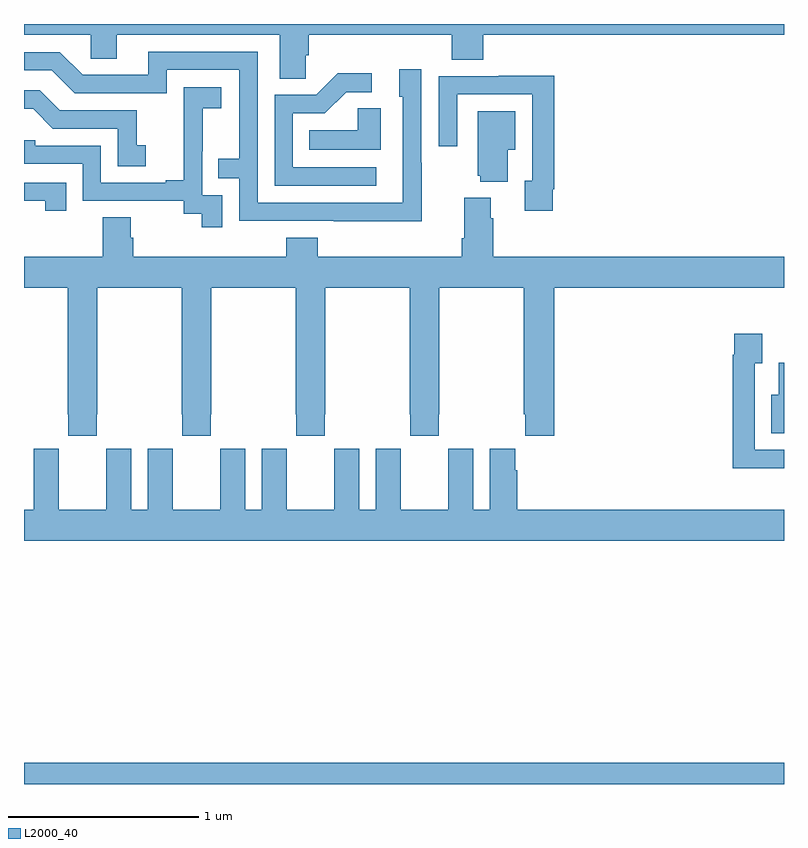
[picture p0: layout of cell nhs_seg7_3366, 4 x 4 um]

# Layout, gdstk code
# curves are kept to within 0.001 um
import gdstk
lib = gdstk.Library(unit=1e-6, precision=1e-09)
def R(c, l, rs):  # rectangles x0, y0, x1, y1
    for r in rs: c.add(gdstk.rectangle(r[:2], r[2:], *l))
def P(c, l, *ps):  # polygons
    for p in ps: c.add(gdstk.Polygon(p, *l))
L2000_40 = (2000, 40)

nhs_seg7_3366 = lib.new_cell('nhs_seg7_3366')
R(nhs_seg7_3366, L2000_40, [(325,1002,329,1002.112)])
P(nhs_seg7_3366, L2000_40, [(326.484,1005.835),(326.498,1005.835),(326.498,1005.944),(327.251,1005.944),(327.251,1005.811),(327.416,1005.811),(327.416,1005.944),(329,1005.944),(329,1006),(325,1006),(325,1005.944),(325.35,1005.944),(325.35,1005.817),(325.489,1005.817),(325.489,1005.944),(326.345,1005.944),(326.345,1005.712),(326.484,1005.712)],
  [(327.093,1005.269),(327.09,1005.269),(327.09,1005.763),(326.975,1005.763),(326.975,1005.618),(326.994,1005.618),(326.994,1005.06),(326.229,1005.06),(326.229,1005.855),(325.655,1005.855),(325.655,1005.732),(325.308,1005.732),(325.188,1005.852),(325,1005.852),(325,1005.756),(325.146,1005.756),(325.266,1005.636),(325.752,1005.636),(325.752,1005.759),(326.133,1005.759),(326.133,1005.29),(326.023,1005.29),(326.023,1005.189),(326.133,1005.189),(326.133,1004.964),(327.093,1004.963)],
  [(326.854,1005.246),(326.415,1005.246),(326.415,1005.531),(326.584,1005.531),(326.695,1005.642),(326.83,1005.642),(326.83,1005.74),(326.651,1005.74),(326.538,1005.627),(326.319,1005.627),(326.319,1005.15),(326.854,1005.15)],
  [(327.784,1005.13),(327.791,1005.13),(327.791,1005.728),(327.499,1005.728),(327.499,1005.726),(327.183,1005.726),(327.183,1005.357),(327.279,1005.357),(327.279,1005.63),(327.675,1005.63),(327.675,1005.174),(327.635,1005.174),(327.635,1005.018),(327.784,1005.018)],
  [(326.043,1005.099),(325.938,1005.099),(325.938,1005.329),(325.94,1005.329),(325.94,1005.557),(326.038,1005.557),(326.038,1005.667),(325.84,1005.667),(325.84,1005.461),(325.841,1005.461),(325.841,1005.178),(325.745,1005.178),(325.745,1005.165),(325.404,1005.165),(325.404,1005.36),(325.059,1005.36),(325.059,1005.387),(325,1005.387),(325,1005.264),(325.308,1005.264),(325.308,1005.069),(325.842,1005.069),(325.842,1005.001),(325.935,1005.001),(325.935,1004.931),(326.043,1004.931)],
  [(325.642,1005.361),(325.593,1005.361),(325.593,1005.546),(325.189,1005.546),(325.084,1005.651),(325,1005.651),(325,1005.554),(325.048,1005.554),(325.152,1005.45),(325.494,1005.45),(325.494,1005.252),(325.642,1005.252)],
  [(326.878,1005.557),(326.757,1005.557),(326.757,1005.442),(326.5,1005.442),(326.5,1005.338),(326.878,1005.338)],
  [(327.547,1005.338),(327.586,1005.338),(327.586,1005.541),(327.389,1005.541),(327.389,1005.201),(327.401,1005.201),(327.401,1005.17),(327.547,1005.17)],
  [(325.223,1005.165),(325,1005.165),(325,1005.069),(325.112,1005.069),(325.112,1005.018),(325.223,1005.018)],
  [(325.383,1003.945),(325.386,1003.945),(325.386,1004.612),(325.831,1004.612),(325.831,1003.945),(325.833,1003.945),(325.833,1003.833),(325.983,1003.833),(325.983,1003.945),(325.986,1003.945),(325.986,1004.612),(326.431,1004.612),(326.431,1003.945),(326.433,1003.945),(326.433,1003.833),(326.583,1003.833),(326.583,1003.945),(326.586,1003.945),(326.586,1004.612),(327.031,1004.612),(327.031,1003.945),(327.033,1003.945),(327.033,1003.833),(327.183,1003.833),(327.183,1003.945),(327.186,1003.945),(327.186,1004.612),(327.631,1004.612),(327.631,1003.945),(327.637,1003.945),(327.637,1003.833),(327.791,1003.833),(327.791,1004.612),(329,1004.612),(329,1004.776),(327.47,1004.776),(327.47,1004.978),(327.457,1004.978),(327.457,1005.085),(327.317,1005.085),(327.317,1004.872),(327.305,1004.872),(327.305,1004.776),(326.546,1004.776),(326.546,1004.875),(326.381,1004.875),(326.381,1004.776),(325.574,1004.776),(325.574,1004.874),(325.561,1004.874),(325.561,1004.984),(325.414,1004.984),(325.414,1004.776),(325,1004.776),(325,1004.612),(325.231,1004.612),(325.231,1003.945),(325.233,1003.945),(325.233,1003.833),(325.383,1003.833)],
  [(329,1003.758),(328.845,1003.758),(328.845,1004.215),(328.885,1004.215),(328.885,1004.371),(328.737,1004.371),(328.737,1004.258),(328.729,1004.258),(328.729,1003.661),(329,1003.661)],
  [(329,1004.218),(328.973,1004.218),(328.973,1004.05),(328.934,1004.05),(328.934,1003.847),(329,1003.847)],
  [(329,1003.444),(327.596,1003.444),(327.596,1003.652),(327.586,1003.652),(327.586,1003.765),(327.452,1003.765),(327.452,1003.444),(327.364,1003.444),(327.364,1003.765),(327.234,1003.765),(327.234,1003.652),(327.233,1003.652),(327.233,1003.444),(326.983,1003.444),(326.983,1003.652),(326.982,1003.652),(326.982,1003.765),(326.852,1003.765),(326.852,1003.444),(326.764,1003.444),(326.764,1003.765),(326.634,1003.765),(326.634,1003.652),(326.633,1003.652),(326.633,1003.444),(326.383,1003.444),(326.383,1003.652),(326.382,1003.652),(326.382,1003.765),(326.252,1003.765),(326.252,1003.444),(326.164,1003.444),(326.164,1003.765),(326.034,1003.765),(326.034,1003.652),(326.033,1003.652),(326.033,1003.444),(325.783,1003.444),(325.783,1003.652),(325.782,1003.652),(325.782,1003.765),(325.652,1003.765),(325.652,1003.444),(325.564,1003.444),(325.564,1003.765),(325.434,1003.765),(325.434,1003.652),(325.433,1003.652),(325.433,1003.444),(325.183,1003.444),(325.183,1003.652),(325.182,1003.652),(325.182,1003.765),(325.052,1003.765),(325.052,1003.444),(325,1003.444),(325,1003.28),(329,1003.28)])

lib.write_gds('nhs_seg7_3366.gds')
